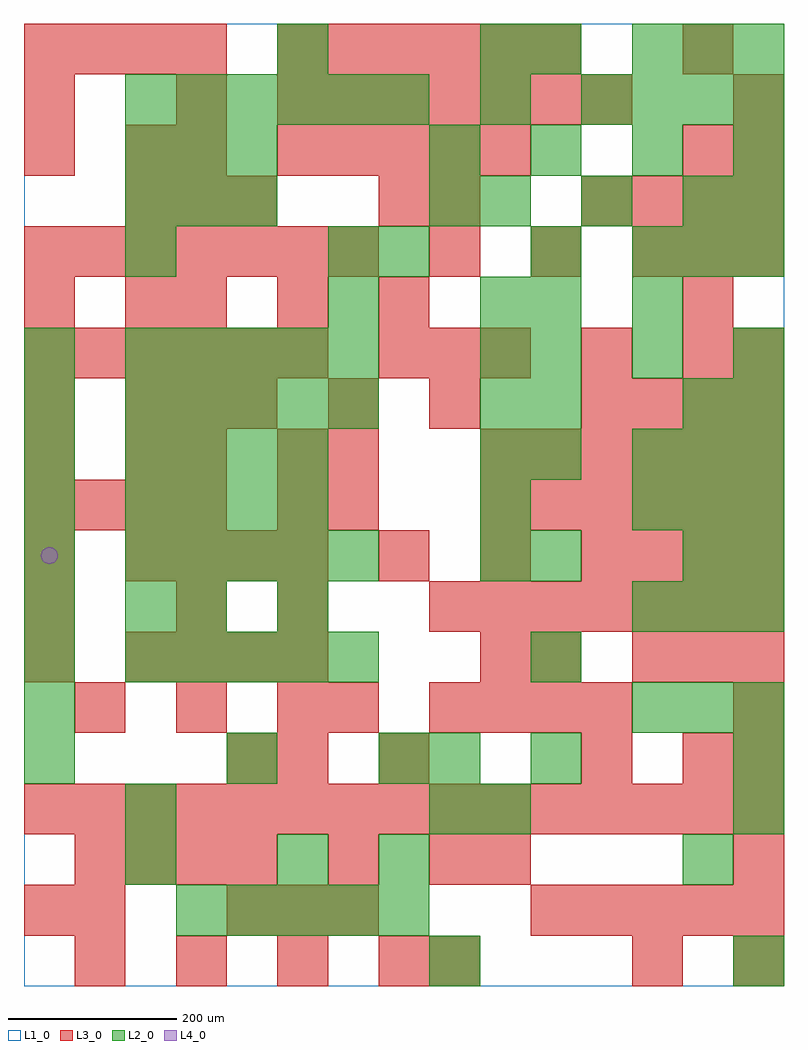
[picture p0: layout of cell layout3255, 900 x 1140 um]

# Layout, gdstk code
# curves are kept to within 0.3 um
import gdstk
lib = gdstk.Library(unit=1e-6, precision=1e-09)
def R(c, l, rs):  # rectangles x0, y0, x1, y1
    for r in rs: c.add(gdstk.rectangle(r[:2], r[2:], *l))
def A(c, l, x, y, w, h, nx, ny, dx, dy):  # array of equal rectangles
    R(c, l, [(x+i*dx, y+j*dy, x+i*dx+w, y+j*dy+h) for i in range(nx) for j in range(ny)])
def P(c, l, *ps):  # polygons
    for p in ps: c.add(gdstk.Polygon(p, *l))
L1_0 = (1, 0)
L2_0 = (2, 0)
L3_0 = (3, 0)
L4_0 = (4, 0)

layout3255 = lib.new_cell('layout3255')
R(layout3255, L1_0, [(0,0,900,1140)])
A(layout3255, L2_0, 180, 60, 60, 60, 5, 1, 60, 0)
A(layout3255, L2_0, 0, 240, 60, 60, 1, 9, 0, 60)
A(layout3255, L2_0, 600, 240, 60, 60, 1, 4, 0, 120)
A(layout3255, L2_0, 720, 300, 60, 60, 3, 3, 60, 120)
A(layout3255, L2_0, 120, 360, 60, 60, 5, 2, 60, 120)
A(layout3255, L2_0, 540, 480, 60, 60, 1, 6, 0, 60)
A(layout3255, L2_0, 120, 540, 60, 60, 4, 2, 60, 60)
A(layout3255, L2_0, 720, 600, 60, 60, 3, 3, 60, 240)
A(layout3255, L2_0, 120, 660, 60, 60, 5, 2, 60, 60)
A(layout3255, L2_0, 600, 720, 60, 60, 3, 1, 120, 0)
A(layout3255, L2_0, 120, 900, 60, 60, 3, 2, 60, 60)
A(layout3255, L2_0, 540, 900, 60, 60, 3, 1, 120, 0)
A(layout3255, L2_0, 480, 960, 60, 60, 4, 1, 120, 0)
A(layout3255, L2_0, 120, 1020, 60, 60, 6, 1, 60, 0)
A(layout3255, L2_0, 660, 1020, 60, 60, 4, 1, 60, 0)
R(layout3255, L2_0, [(480,0,540,60), (840,0,900,60), (120,120,180,180), (300,120,360,180), (420,120,480,180), (780,120,840,180), (120,180,180,240), (480,180,540,240), (540,180,600,240), (840,180,900,240), (240,240,300,300), (420,240,480,300), (480,240,540,300), (840,240,900,300), (120,420,180,480), (180,420,240,480), (300,420,360,480), (780,480,840,540), (840,480,900,540), (600,660,660,720), (780,660,840,720), (840,660,900,720), (360,780,420,840), (600,780,660,840), (720,780,780,840), (120,840,180,900), (360,840,420,900), (420,840,480,900), (600,840,660,900), (480,900,540,960), (840,900,900,960), (540,1020,600,1080), (300,1080,360,1140), (540,1080,600,1140), (600,1080,660,1140)])
A(layout3255, L3_0, 60, 0, 60, 60, 4, 1, 120, 0)
A(layout3255, L3_0, 840, 0, 60, 60, 1, 3, 0, 120)
A(layout3255, L3_0, 240, 60, 60, 60, 3, 1, 60, 0)
A(layout3255, L3_0, 600, 60, 60, 60, 5, 1, 60, 0)
A(layout3255, L3_0, 60, 120, 60, 60, 4, 1, 60, 0)
A(layout3255, L3_0, 0, 180, 60, 60, 15, 1, 60, 0)
A(layout3255, L3_0, 60, 300, 60, 60, 3, 1, 120, 0)
A(layout3255, L3_0, 480, 300, 60, 60, 4, 1, 60, 0)
A(layout3255, L3_0, 0, 360, 60, 60, 1, 3, 0, 60)
A(layout3255, L3_0, 120, 360, 60, 60, 4, 2, 60, 120)
A(layout3255, L3_0, 720, 360, 60, 60, 3, 2, 60, 120)
A(layout3255, L3_0, 480, 420, 60, 60, 7, 1, 60, 0)
A(layout3255, L3_0, 420, 480, 60, 60, 3, 1, 120, 0)
A(layout3255, L3_0, 0, 540, 60, 60, 4, 2, 60, 540)
A(layout3255, L3_0, 360, 540, 60, 60, 1, 3, 0, 60)
A(layout3255, L3_0, 540, 540, 60, 60, 6, 2, 60, 60)
A(layout3255, L3_0, 120, 600, 60, 60, 1, 3, 0, 180)
A(layout3255, L3_0, 120, 660, 60, 60, 3, 2, 60, 240)
A(layout3255, L3_0, 660, 660, 60, 60, 4, 2, 60, 240)
A(layout3255, L3_0, 0, 720, 60, 60, 6, 1, 60, 0)
A(layout3255, L3_0, 420, 720, 60, 60, 3, 1, 60, 0)
A(layout3255, L3_0, 780, 720, 60, 60, 1, 3, 0, 60)
A(layout3255, L3_0, 840, 720, 60, 60, 1, 3, 0, 120)
A(layout3255, L3_0, 180, 780, 60, 60, 3, 1, 120, 0)
A(layout3255, L3_0, 0, 840, 60, 60, 7, 1, 60, 0)
A(layout3255, L3_0, 480, 840, 60, 60, 3, 1, 120, 0)
A(layout3255, L3_0, 300, 960, 60, 60, 5, 1, 60, 0)
A(layout3255, L3_0, 300, 1020, 60, 60, 7, 1, 60, 0)
A(layout3255, L3_0, 300, 1080, 60, 60, 6, 1, 60, 0)
R(layout3255, L3_0, [(480,0,540,60), (720,0,780,60), (0,60,60,120), (60,60,120,120), (360,120,420,180), (480,120,540,180), (540,120,600,180), (240,240,300,300), (300,240,360,300), (420,240,480,300), (660,240,720,300), (780,240,840,300), (360,300,420,360), (840,300,900,360), (540,360,600,420), (600,360,660,420), (180,420,240,480), (300,420,360,480), (300,540,360,600), (0,600,60,660), (180,600,240,660), (300,600,360,660), (0,660,60,720), (480,660,540,720), (660,720,720,780), (0,780,60,840), (420,900,480,960), (480,900,540,960), (0,960,60,1020), (180,960,240,1020), (780,960,840,1020), (0,1020,60,1080), (180,1020,240,1080), (840,1020,900,1080), (780,1080,840,1140)])
P(layout3255, L4_0, [(40,510),(39.239,513.827),(37.071,517.071),(33.827,519.239),(30,520),(26.173,519.239),(22.929,517.071),(20.761,513.827),(20,510),(20.761,506.173),(22.929,502.929),(26.173,500.761),(30,500),(33.827,500.761),(37.071,502.929),(39.239,506.173)])

lib.write_gds('layout3255.gds')
